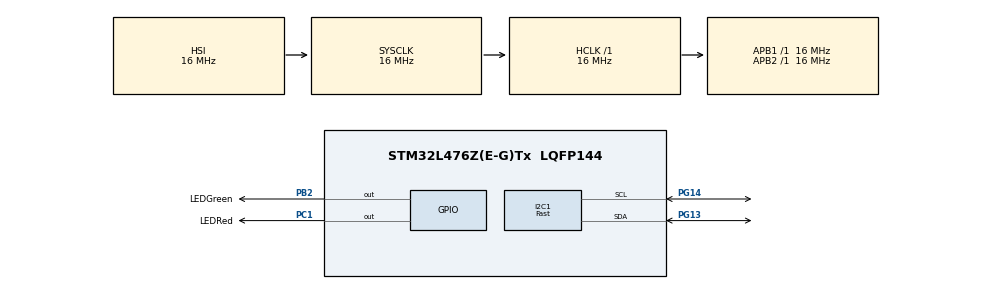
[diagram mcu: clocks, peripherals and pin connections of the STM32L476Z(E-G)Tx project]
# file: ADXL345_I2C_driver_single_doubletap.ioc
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I2C1.I2C_Speed_Mode=I2C_Fast
I2C1.Timing=0x0010061A
Mcu.Family=STM32L4
Mcu.Name=STM32L476Z(E-G)Tx
Mcu.Package=LQFP144
NVIC.PriorityGroup=NVIC_PRIORITYGROUP_4
PB2.GPIO_Label=LEDGreen
PB2.Signal=GPIO_Output
PC1.GPIO_Label=LEDRed
PC1.Signal=GPIO_Output
PG13.Mode=I2C
PG13.Signal=I2C1_SDA
PG14.Mode=I2C
PG14.Signal=I2C1_SCL
ProjectManager.HeapSize=0x200
ProjectManager.StackSize=0x400
ProjectManager.TargetToolchain=STM32CubeIDE
RCC.ADCFreq_Value=64000000
RCC.AHBFreq_Value=16000000
RCC.APB1Freq_Value=16000000
RCC.APB1TimFreq_Value=16000000
RCC.APB2Freq_Value=16000000
RCC.APB2TimFreq_Value=16000000
RCC.CortexFreq_Value=16000000
RCC.HCLKFreq_Value=16000000
RCC.HSE_VALUE=8000000
RCC.HSI_VALUE=16000000
RCC.LSE_VALUE=32768
RCC.MSI_VALUE=4000000
RCC.PLLSourceVirtual=RCC_PLLSOURCE_HSI
RCC.SYSCLKFreq_VALUE=16000000
RCC.SYSCLKSource=RCC_SYSCLKSOURCE_HSI
RCC.USBFreq_Value=64000000
RCC.VCOOutputFreq_Value=128000000
board=custom

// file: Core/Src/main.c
/* USER CODE BEGIN Header */
/**
  ******************************************************************************
  * @file           : main.c
  * @brief          : Main program body
  ******************************************************************************
  * @attention
  *
  * Copyright (c) 2024 STMicroelectronics.
  * All rights reserved.
  *
  * This software is licensed under terms that can be found in the LICENSE file
  * in the root directory of this software component.
  * If no LICENSE file comes with this software, it is provided AS-IS.
  *
  ******************************************************************************
  */
/* USER CODE END Header */
#include "main.h"

/* USER CODE BEGIN Includes */

#include "stdio.h"
#include "stm32l4xx_hal.h"

/* USER CODE END Includes */

I2C_HandleTypeDef hi2c1;

void SystemClock_Config(void);
static void MX_GPIO_Init(void);
static void MX_I2C1_Init(void);

/* USER CODE BEGIN 0 */
int16_t x,y,z;
uint8_t data_rec[6];

uint8_t read_register(uint8_t reg) {
	uint8_t value;
	    HAL_I2C_Mem_Read(&hi2c1, ADXL345_ADDR, reg, 1, &value, 1, HAL_MAX_DELAY);
	    return value;
}

void adxl_write (uint8_t reg, uint8_t value)
{
	HAL_I2C_Mem_Write(&hi2c1, ADXL345_ADDR, reg, 1, &value, 1, HAL_MAX_DELAY);

}

void adxl_read_values (uint8_t reg)
{
	HAL_I2C_Mem_Read (&hi2c1, ADXL345_ADDR, reg, 1, (uint8_t *)data_rec, 6, 100);
}

void adxl_init (void)
{
	read_register (ADXL345_REG_ADDRESS); // read the DEVID

	adxl_write (ADXL345_REG_DATA_FORMAT, 0x01);  // data_format range= +- 4g --> for that setting  0 1
	adxl_write (ADXL345_POWER_CTL, 0x00);   // resetting all bits of PWR_CTRL register
	adxl_write (ADXL345_POWER_CTL, 0x08);   // PWR_CTRL measure and wake up at 8hz frequency(8 samples per second), setting 3rd bit of power_ctrl reg
	adxl_write (ADXL345_THRESH_TAP, 0x30);  // setting a tap threshold to ~3g
	adxl_write (ADXL345_TAP_DURATION, 0x10); // adjusting a tap duration to ~10 ms
	adxl_write (ADXL345_TAP_LATENCY, 0x20);  // setting tap latency to ~20 ms
	adxl_write (ADXL345_TAP_WINDOW, 0x50);   // setting tap window to 0x80 = ~200ms
	adxl_write (ADXL345_TAP_AXES, 0x07);    // enabling tap detection on all axes
	adxl_write (ADXL345_INT_ENABLE, 0x20);   // enabling single tap interrupt
	adxl_write (ADXL345_INT_MAP, 0x00);

}
/*uint8_t  adxl_readtapstatus(void){
	// Read the INT_SOURCE register
	    uint8_t int_source = read_register(ADXL345_REG_INT_SOURCE);
	    // Check if single-tap bit is set
	        if (int_source & 0x40) {
	            // Single-tap detected
	        	 HAL_GPIO_TogglePin(GPIOB,GPIO_PIN_2); // Toggle LED
	        }
}*/
void DetectDoubleTap(void) {
    uint8_t intSource = read_register(ADXL345_REG_INT_SOURCE); // Read the interrupt source register

        // Check if double-tap interrupt is set
        if (intSource & 0x20) {
        	 HAL_GPIO_TogglePin(GPIOC,GPIO_PIN_1); // Toggle red LED
        }
}

int16_t adxl_readx(void)
{
	int16_t x;
	adxl_read_values (ADXL345_REG_DATAX0);
	x = ((data_rec[1]<<8)|data_rec[0]);
	return x;
}

int16_t adxl_ready(void)
{
	int16_t y;
	adxl_read_values (ADXL345_REG_DATAY0);
	y = ((data_rec[3]<<8)|data_rec[2]);
	return y;
}

int16_t adxl_readz(void)
{
	int16_t z;
	adxl_read_values (ADXL345_REG_DATAZ0);
	z = ((data_rec[5]<<8)|data_rec[4]);
	return z;
}
/* USER CODE END 0 */

int main(void)
{

  /* MCU Configuration--------------------------------------------------------*/

  /* Reset of all peripherals, Initializes the Flash interface and the Systick. */
  HAL_Init();

  /* Configure the system clock */
  SystemClock_Config();

  /* Initialize all configured peripherals */
  MX_GPIO_Init();
  MX_I2C1_Init();
  /* USER CODE BEGIN 2 */

  adxl_init();
 // uint8_t device_id = read_register_dev_id(ADXL345_REG_ADDRESS);
 // printf("ADXL345 Device ID: 0x%X\n", device_id);

  /* USER CODE END 2 */

  /* Infinite loop */
  while (1)
  {

    /* USER CODE BEGIN 3 */

	 x=adxl_readx();
	 y=adxl_ready();
	 z=adxl_readz();

	 // Continuously check for single-tap

	 //adxl_readtapstatus();

	 // Continuously check for double-tap
	 DetectDoubleTap();

	 // Add a small delay to reduce polling frequency
	 HAL_Delay(10);

  }
  /* USER CODE END 3 */
}

void SystemClock_Config(void)
{
  RCC_OscInitTypeDef RCC_OscInitStruct = {0};
  RCC_ClkInitTypeDef RCC_ClkInitStruct = {0};

  /** Configure the main internal regulator output voltage
  */
  if (HAL_PWREx_ControlVoltageScaling(PWR_REGULATOR_VOLTAGE_SCALE1) != HAL_OK)
  {
    Error_Handler();
  }

  /** Initializes the RCC Oscillators according to the specified parameters
  * in the RCC_OscInitTypeDef structure.
  */
  RCC_OscInitStruct.OscillatorType = RCC_OSCILLATORTYPE_HSI;
  RCC_OscInitStruct.HSIState = RCC_HSI_ON;
  RCC_OscInitStruct.HSICalibrationValue = RCC_HSICALIBRATION_DEFAULT;
  RCC_OscInitStruct.PLL.PLLState = RCC_PLL_NONE;
  if (HAL_RCC_OscConfig(&RCC_OscInitStruct) != HAL_OK)
  {
    Error_Handler();
  }

  /** Initializes the CPU, AHB and APB buses clocks
  */
  RCC_ClkInitStruct.ClockType = RCC_CLOCKTYPE_HCLK|RCC_CLOCKTYPE_SYSCLK
                              |RCC_CLOCKTYPE_PCLK1|RCC_CLOCKTYPE_PCLK2;
  RCC_ClkInitStruct.SYSCLKSource = RCC_SYSCLKSOURCE_HSI;
  RCC_ClkInitStruct.AHBCLKDivider = RCC_SYSCLK_DIV1;
  RCC_ClkInitStruct.APB1CLKDivider = RCC_HCLK_DIV1;
  RCC_ClkInitStruct.APB2CLKDivider = RCC_HCLK_DIV1;

  if (HAL_RCC_ClockConfig(&RCC_ClkInitStruct, FLASH_LATENCY_0) != HAL_OK)
  {
    Error_Handler();
  }
}

static void MX_I2C1_Init(void)
{

  hi2c1.Instance = I2C1;
  hi2c1.Init.Timing = 0x0010061A;
  hi2c1.Init.OwnAddress1 = 0;
  hi2c1.Init.AddressingMode = I2C_ADDRESSINGMODE_7BIT;
  hi2c1.Init.DualAddressMode = I2C_DUALADDRESS_DISABLE;
  hi2c1.Init.OwnAddress2 = 0;
  hi2c1.Init.OwnAddress2Masks = I2C_OA2_NOMASK;
  hi2c1.Init.GeneralCallMode = I2C_GENERALCALL_DISABLE;
  hi2c1.Init.NoStretchMode = I2C_NOSTRETCH_DISABLE;
  if (HAL_I2C_Init(&hi2c1) != HAL_OK)
  {
    Error_Handler();
  }

  /** Configure Analogue filter
  */
  if (HAL_I2CEx_ConfigAnalogFilter(&hi2c1, I2C_ANALOGFILTER_ENABLE) != HAL_OK)
  {
    Error_Handler();
  }

  /** Configure Digital filter
  */
  if (HAL_I2CEx_ConfigDigitalFilter(&hi2c1, 0) != HAL_OK)
  {
    Error_Handler();
  }

}

static void MX_GPIO_Init(void)
{
  GPIO_InitTypeDef GPIO_InitStruct = {0};

  /* GPIO Ports Clock Enable */
  __HAL_RCC_GPIOC_CLK_ENABLE();
  __HAL_RCC_GPIOB_CLK_ENABLE();
  __HAL_RCC_GPIOG_CLK_ENABLE();
  HAL_PWREx_EnableVddIO2();

  /*Configure GPIO pin Output Level */
  HAL_GPIO_WritePin(LEDRed_GPIO_Port, LEDRed_Pin, GPIO_PIN_RESET);

  /*Configure GPIO pin Output Level */
  HAL_GPIO_WritePin(LEDGreen_GPIO_Port, LEDGreen_Pin, GPIO_PIN_RESET);

  /*Configure GPIO pin : LEDRed_Pin */
  GPIO_InitStruct.Pin = LEDRed_Pin;
  GPIO_InitStruct.Mode = GPIO_MODE_OUTPUT_PP;
  GPIO_InitStruct.Pull = GPIO_NOPULL;
  GPIO_InitStruct.Speed = GPIO_SPEED_FREQ_LOW;
  HAL_GPIO_Init(LEDRed_GPIO_Port, &GPIO_InitStruct);

  /*Configure GPIO pin : LEDGreen_Pin */
  GPIO_InitStruct.Pin = LEDGreen_Pin;
  GPIO_InitStruct.Mode = GPIO_MODE_OUTPUT_PP;
  GPIO_InitStruct.Pull = GPIO_NOPULL;
  GPIO_InitStruct.Speed = GPIO_SPEED_FREQ_LOW;
  HAL_GPIO_Init(LEDGreen_GPIO_Port, &GPIO_InitStruct);

}

void Error_Handler(void)
{
  __disable_irq();
  while (1)
  {
  }
}
